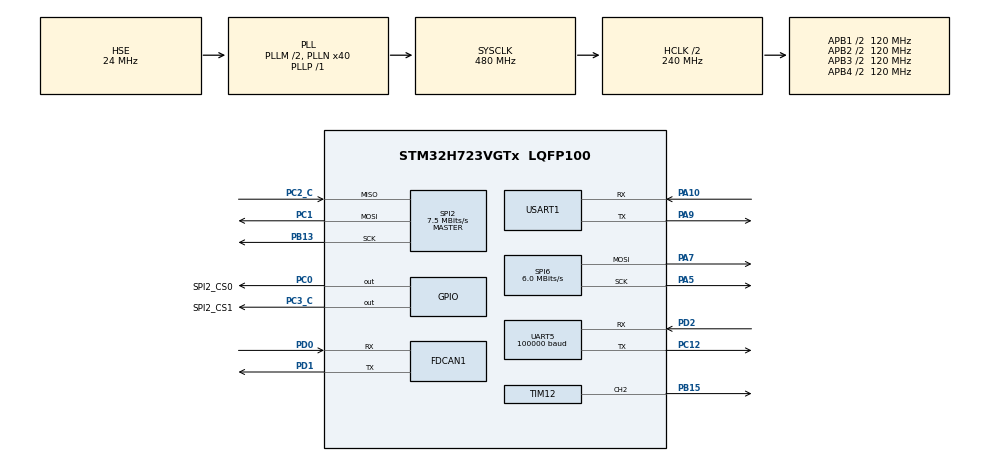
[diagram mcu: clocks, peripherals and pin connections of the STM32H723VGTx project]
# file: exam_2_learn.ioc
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Bdma.Request0=SPI6_TX
Bdma.RequestsNb=1
Bdma.SPI6_TX.0.Direction=DMA_MEMORY_TO_PERIPH
Bdma.SPI6_TX.0.EventEnable=DISABLE
Bdma.SPI6_TX.0.Instance=BDMA_Channel0
Bdma.SPI6_TX.0.MemDataAlignment=DMA_MDATAALIGN_BYTE
Bdma.SPI6_TX.0.MemInc=DMA_MINC_ENABLE
Bdma.SPI6_TX.0.Mode=DMA_NORMAL
Bdma.SPI6_TX.0.PeriphDataAlignment=DMA_PDATAALIGN_BYTE
Bdma.SPI6_TX.0.PeriphInc=DMA_PINC_DISABLE
Bdma.SPI6_TX.0.Polarity=HAL_DMAMUX_REQ_GEN_RISING
Bdma.SPI6_TX.0.Priority=DMA_PRIORITY_LOW
Bdma.SPI6_TX.0.RequestNumber=1
Bdma.SPI6_TX.0.SignalID=NONE
Bdma.SPI6_TX.0.SyncEnable=DISABLE
Bdma.SPI6_TX.0.SyncPolarity=HAL_DMAMUX_SYNC_NO_EVENT
Bdma.SPI6_TX.0.SyncRequestNumber=1
Bdma.SPI6_TX.0.SyncSignalID=NONE
CORTEX_M7.CPU_ICache=Enabled
CORTEX_M7.default_mode_Activation=1
Dma.Request0=USART1_RX
Dma.Request1=USART1_TX
Dma.Request2=UART5_RX
Dma.UART5_RX.2.Direction=DMA_PERIPH_TO_MEMORY
Dma.UART5_RX.2.EventEnable=DISABLE
Dma.UART5_RX.2.FIFOMode=DMA_FIFOMODE_DISABLE
Dma.UART5_RX.2.Instance=DMA1_Stream2
Dma.UART5_RX.2.MemDataAlignment=DMA_MDATAALIGN_BYTE
Dma.UART5_RX.2.MemInc=DMA_MINC_ENABLE
Dma.UART5_RX.2.Mode=DMA_NORMAL
Dma.UART5_RX.2.PeriphDataAlignment=DMA_PDATAALIGN_BYTE
Dma.UART5_RX.2.PeriphInc=DMA_PINC_DISABLE
Dma.UART5_RX.2.Polarity=HAL_DMAMUX_REQ_GEN_RISING
Dma.UART5_RX.2.Priority=DMA_PRIORITY_LOW
Dma.UART5_RX.2.RequestNumber=1
Dma.UART5_RX.2.SignalID=NONE
Dma.UART5_RX.2.SyncEnable=DISABLE
Dma.UART5_RX.2.SyncPolarity=HAL_DMAMUX_SYNC_NO_EVENT
Dma.UART5_RX.2.SyncRequestNumber=1
Dma.UART5_RX.2.SyncSignalID=NONE
Dma.USART1_RX.0.Direction=DMA_PERIPH_TO_MEMORY
Dma.USART1_RX.0.EventEnable=DISABLE
Dma.USART1_RX.0.FIFOMode=DMA_FIFOMODE_DISABLE
Dma.USART1_RX.0.Instance=DMA1_Stream0
Dma.USART1_RX.0.MemDataAlignment=DMA_MDATAALIGN_BYTE
Dma.USART1_RX.0.MemInc=DMA_MINC_ENABLE
Dma.USART1_RX.0.Mode=DMA_NORMAL
Dma.USART1_RX.0.PeriphDataAlignment=DMA_PDATAALIGN_BYTE
Dma.USART1_RX.0.PeriphInc=DMA_PINC_DISABLE
Dma.USART1_RX.0.Polarity=HAL_DMAMUX_REQ_GEN_RISING
Dma.USART1_RX.0.Priority=DMA_PRIORITY_LOW
Dma.USART1_RX.0.RequestNumber=1
Dma.USART1_RX.0.SignalID=NONE
Dma.USART1_RX.0.SyncEnable=DISABLE
Dma.USART1_RX.0.SyncPolarity=HAL_DMAMUX_SYNC_NO_EVENT
Dma.USART1_RX.0.SyncRequestNumber=1
Dma.USART1_RX.0.SyncSignalID=NONE
Dma.USART1_TX.1.Direction=DMA_MEMORY_TO_PERIPH
Dma.USART1_TX.1.EventEnable=DISABLE
Dma.USART1_TX.1.FIFOMode=DMA_FIFOMODE_DISABLE
Dma.USART1_TX.1.Instance=DMA1_Stream1
Dma.USART1_TX.1.MemDataAlignment=DMA_MDATAALIGN_BYTE
Dma.USART1_TX.1.MemInc=DMA_MINC_ENABLE
Dma.USART1_TX.1.Mode=DMA_NORMAL
Dma.USART1_TX.1.PeriphDataAlignment=DMA_PDATAALIGN_BYTE
Dma.USART1_TX.1.PeriphInc=DMA_PINC_DISABLE
Dma.USART1_TX.1.Polarity=HAL_DMAMUX_REQ_GEN_RISING
Dma.USART1_TX.1.Priority=DMA_PRIORITY_LOW
Dma.USART1_TX.1.RequestNumber=1
Dma.USART1_TX.1.SignalID=NONE
Dma.USART1_TX.1.SyncEnable=DISABLE
Dma.USART1_TX.1.SyncPolarity=HAL_DMAMUX_SYNC_NO_EVENT
Dma.USART1_TX.1.SyncRequestNumber=1
Dma.USART1_TX.1.SyncSignalID=NONE
FDCAN1.AutoRetransmission=ENABLE
FDCAN1.CalculateBaudRateNominal=1000000
FDCAN1.CalculateTimeBitNominal=1000
FDCAN1.CalculateTimeQuantumNominal=25.0
FDCAN1.NominalPrescaler=3
FDCAN1.NominalSyncJumpWidth=2
FDCAN1.NominalTimeSeg1=29
FDCAN1.NominalTimeSeg2=10
FDCAN1.RxFifo0ElmtsNbr=8
FDCAN1.StdFiltersNbr=1
FDCAN1.TxFifoQueueElmtsNbr=4
FDCAN1.TxFifoQueueMode=FDCAN_TX_QUEUE_OPERATION
FREERTOS.Tasks01=defaultTask,24,128,StartDefaultTask,Default,NULL,Dynamic,NULL,NULL;myTask02,24,256,StartTask02,Default,NULL,Dynamic,NULL,NULL
Mcu.Family=STM32H7
Mcu.Name=STM32H723VGTx
Mcu.Package=LQFP100
NVIC.BDMA_Channel0_IRQn=true\:5\:0\:false\:false\:true\:true\:false\:true\:true
NVIC.DMA1_Stream0_IRQn=true\:5\:0\:false\:false\:true\:true\:false\:true\:true
NVIC.DMA1_Stream1_IRQn=true\:5\:0\:false\:false\:true\:true\:false\:true\:true
NVIC.DMA1_Stream2_IRQn=true\:5\:0\:false\:false\:true\:true\:false\:true\:true
NVIC.FDCAN1_IT0_IRQn=true\:5\:0\:false\:false\:true\:true\:true\:true\:true
NVIC.FDCAN1_IT1_IRQn=true\:5\:0\:false\:false\:true\:true\:true\:true\:true
NVIC.PriorityGroup=NVIC_PRIORITYGROUP_4
NVIC.SPI2_IRQn=true\:5\:0\:false\:false\:true\:true\:true\:true\:true
NVIC.SPI6_IRQn=true\:5\:0\:false\:false\:true\:true\:false\:true\:true
NVIC.TIM6_DAC_IRQn=true\:15\:0\:false\:false\:true\:false\:false\:true\:true
NVIC.TimeBase=TIM6_DAC_IRQn
NVIC.TimeBaseIP=TIM6
NVIC.UART5_IRQn=true\:5\:0\:false\:false\:true\:true\:true\:true\:true
NVIC.USART1_IRQn=true\:5\:0\:false\:false\:true\:true\:true\:true\:true
PA10.Mode=Asynchronous
PA10.Signal=USART1_RX
PA13(JTMS/SWDIO).Mode=Serial_Wire
PA13(JTMS/SWDIO).Signal=DEBUG_JTMS-SWDIO
PA14(JTCK/SWCLK).Mode=Serial_Wire
PA14(JTCK/SWCLK).Signal=DEBUG_JTCK-SWCLK
PA5.Mode=TX_Only_Simplex_Unidirect_Master
PA5.Signal=SPI6_SCK
PA7.Mode=TX_Only_Simplex_Unidirect_Master
PA7.Signal=SPI6_MOSI
PA9.Mode=Asynchronous
PA9.Signal=USART1_TX
PB13.Mode=Full_Duplex_Master
PB13.Signal=SPI2_SCK
PB15.Signal=S_TIM12_CH2
PC0.GPIO_Label=SPI2_CS0
PC0.PinState=GPIO_PIN_SET
PC0.Signal=GPIO_Output
PC1.Mode=Full_Duplex_Master
PC1.Signal=SPI2_MOSI
PC12.Mode=Asynchronous
PC12.Signal=UART5_TX
PC2_C.Mode=Full_Duplex_Master
PC2_C.Signal=SPI2_MISO
PC3_C.GPIO_Label=SPI2_CS1
PC3_C.PinState=GPIO_PIN_SET
PC3_C.Signal=GPIO_Output
PD0.Mode=FDCAN_Activate
PD0.Signal=FDCAN1_RX
PD1.Mode=FDCAN_Activate
PD1.Signal=FDCAN1_TX
PD2.Mode=Asynchronous
PD2.Signal=UART5_RX
PH0-OSC_IN.Mode=HSE-External-Oscillator
PH0-OSC_IN.Signal=RCC_OSC_IN
PH1-OSC_OUT.Mode=HSE-External-Oscillator
PH1-OSC_OUT.Signal=RCC_OSC_OUT
ProjectManager.HeapSize=0x200
ProjectManager.StackSize=0x400
ProjectManager.TargetToolchain=CMake
RCC.ADCFreq_Value=48375000
RCC.APB1Freq_Value=120000000
RCC.APB2Freq_Value=120000000
RCC.APB3Freq_Value=120000000
RCC.APB4Freq_Value=120000000
RCC.CortexFreq_Value=480000000
RCC.D1PPRE=RCC_APB3_DIV2
RCC.D2PPRE1=RCC_APB1_DIV2
RCC.D2PPRE2=RCC_APB2_DIV2
RCC.D3PPRE=RCC_APB4_DIV2
RCC.DIVM1=2
RCC.DIVN1=40
RCC.DIVP1=1
RCC.DIVQ1=4
RCC.HCLKFreq_Value=240000000
RCC.HPRE=RCC_HCLK_DIV2
RCC.HSE_VALUE=24000000
RCC.PLL2FRACN=0
RCC.PLLFRACN=0
RCC.PLLSourceVirtual=RCC_PLLSOURCE_HSE
RCC.SPI6CLockSelection=RCC_SPI6CLKSOURCE_HSE
RCC.SYSCLKFreq_VALUE=480000000
RCC.SYSCLKSource=RCC_SYSCLKSOURCE_PLLCLK
RCC.USBFreq_Value=120000000
SH.S_TIM12_CH2.0=TIM12_CH2,PWM Generation2 CH2
SPI2.BaudRatePrescaler=SPI_BAUDRATEPRESCALER_16
SPI2.CLKPhase=SPI_PHASE_2EDGE
SPI2.CLKPolarity=SPI_POLARITY_HIGH
SPI2.CalculateBaudRate=7.5 MBits/s
SPI2.DataSize=SPI_DATASIZE_8BIT
SPI2.Direction=SPI_DIRECTION_2LINES
SPI2.Mode=SPI_MODE_MASTER
SPI2.VirtualType=VM_MASTER
SPI6.BaudRatePrescaler=SPI_BAUDRATEPRESCALER_4
SPI6.CLKPhase=SPI_PHASE_2EDGE
SPI6.CalculateBaudRate=6.0 MBits/s
SPI6.DataSize=SPI_DATASIZE_8BIT
SPI6.Direction=SPI_DIRECTION_2LINES_TXONLY
SPI6.Mode=SPI_MODE_MASTER
SPI6.VirtualType=VM_MASTER
TIM12.AutoReloadPreload=TIM_AUTORELOAD_PRELOAD_ENABLE
TIM12.Channel-PWM\ Generation2\ CH2=TIM_CHANNEL_2
TIM12.Period=999
TIM12.Prescaler=239
UART5.BaudRate=100000
UART5.Parity=PARITY_EVEN
UART5.WordLength=WORDLENGTH_9B
USART1.VirtualMode-Asynchronous=VM_ASYNC
VP_FREERTOS_VS_CMSIS_V2.Mode=CMSIS_V2
VP_MEMORYMAP_VS_MEMORYMAP.Mode=CurAppReg
VP_SYS_VS_tim6.Mode=TIM6
VP_TIM12_VS_ClockSourceINT.Mode=Internal
board=custom

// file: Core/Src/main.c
/* USER CODE BEGIN Header */
/**
  ******************************************************************************
  * @file           : main.c
  * @brief          : Main program body
  ******************************************************************************
  * @attention
  *
  * Copyright (c) 2026 STMicroelectronics.
  * All rights reserved.
  *
  * This software is licensed under terms that can be found in the LICENSE file
  * in the root directory of this software component.
  * If no LICENSE file comes with this software, it is provided AS-IS.
  *
  ******************************************************************************
  */
/* USER CODE END Header */
#include "main.h"
#include "FreeRTOS.h"
#include "cmsis_os2.h"
#include "bdma.h"
#include "dma.h"
#include "fdcan.h"
#include "spi.h"
#include "tim.h"
#include "usart.h"
#include "gpio.h"

/* USER CODE BEGIN Includes */
#include <stdio.h>
#include <string.h>
#include "led.h"
#include "buzzer.h"
#include "motor.h"
#include "freertos_uart.h"
#include "imu.h"
#include "remote.h"
#include "attitude.h"
#include "can.h"
#include "pid.h"
/* USER CODE END Includes */

void SystemClock_Config(void);
static void MPU_Config(void);
void MX_FREERTOS_Init(void);

/* USER CODE BEGIN 0 */
static void uart_rx_callback(uint8_t *data, uint16_t length)
{
    (void)data;//AI不知道什么时候偷偷写的，不知道什么作用
    (void)length;

    UART_data_process_over(UART_1);
}
/* USER CODE END 0 */

int main(void)
{

  /* MPU Configuration--------------------------------------------------------*/
  MPU_Config();

  /* Enable the CPU Cache */

  /* Enable I-Cache---------------------------------------------------------*/
  SCB_EnableICache();

  /* MCU Configuration--------------------------------------------------------*/

  /* Reset of all peripherals, Initializes the Flash interface and the Systick. */
  HAL_Init();

  /* Configure the system clock */
  SystemClock_Config();

  /* Initialize all configured peripherals */
  MX_GPIO_Init();
  MX_BDMA_Init();
  MX_DMA_Init();
  MX_SPI6_Init();
  MX_TIM12_Init();
  MX_USART1_UART_Init();
  MX_FDCAN1_Init();
  MX_SPI2_Init();
  MX_UART5_Init();
  /* USER CODE BEGIN 2 */
  LED_Init();
  Motor_Init(FDCAN_1, &hfdcan1, GM6020);
  UART_Init(UART_5, &huart5, Remote_rx);//遥控器
  UART_Init(UART_1, &huart1, uart_rx_callback);//vofa
  BMI088_init();
  /* USER CODE END 2 */

  /* Init scheduler */
  osKernelInitialize();  /* Call init function for freertos objects (in cmsis_os2.c) */
  MX_FREERTOS_Init();

  /* Start scheduler */
  osKernelStart();

  /* We should never get here as control is now taken by the scheduler */

  /* Infinite loop */
  while (1)
  {

  }
}

void SystemClock_Config(void)
{
  RCC_OscInitTypeDef RCC_OscInitStruct = {0};
  RCC_ClkInitTypeDef RCC_ClkInitStruct = {0};

  /** Supply configuration update enable
  */
  HAL_PWREx_ConfigSupply(PWR_LDO_SUPPLY);

  /** Configure the main internal regulator output voltage
  */
  __HAL_PWR_VOLTAGESCALING_CONFIG(PWR_REGULATOR_VOLTAGE_SCALE0);

  while(!__HAL_PWR_GET_FLAG(PWR_FLAG_VOSRDY)) {}

  /** Initializes the RCC Oscillators according to the specified parameters
  * in the RCC_OscInitTypeDef structure.
  */
  RCC_OscInitStruct.OscillatorType = RCC_OSCILLATORTYPE_HSE;
  RCC_OscInitStruct.HSEState = RCC_HSE_ON;
  RCC_OscInitStruct.PLL.PLLState = RCC_PLL_ON;
  RCC_OscInitStruct.PLL.PLLSource = RCC_PLLSOURCE_HSE;
  RCC_OscInitStruct.PLL.PLLM = 2;
  RCC_OscInitStruct.PLL.PLLN = 40;
  RCC_OscInitStruct.PLL.PLLP = 1;
  RCC_OscInitStruct.PLL.PLLQ = 4;
  RCC_OscInitStruct.PLL.PLLR = 2;
  RCC_OscInitStruct.PLL.PLLRGE = RCC_PLL1VCIRANGE_3;
  RCC_OscInitStruct.PLL.PLLVCOSEL = RCC_PLL1VCOWIDE;
  RCC_OscInitStruct.PLL.PLLFRACN = 0;
  if (HAL_RCC_OscConfig(&RCC_OscInitStruct) != HAL_OK)
  {
    Error_Handler();
  }

  /** Initializes the CPU, AHB and APB buses clocks
  */
  RCC_ClkInitStruct.ClockType = RCC_CLOCKTYPE_HCLK|RCC_CLOCKTYPE_SYSCLK
                              |RCC_CLOCKTYPE_PCLK1|RCC_CLOCKTYPE_PCLK2
                              |RCC_CLOCKTYPE_D3PCLK1|RCC_CLOCKTYPE_D1PCLK1;
  RCC_ClkInitStruct.SYSCLKSource = RCC_SYSCLKSOURCE_PLLCLK;
  RCC_ClkInitStruct.SYSCLKDivider = RCC_SYSCLK_DIV1;
  RCC_ClkInitStruct.AHBCLKDivider = RCC_HCLK_DIV2;
  RCC_ClkInitStruct.APB3CLKDivider = RCC_APB3_DIV2;
  RCC_ClkInitStruct.APB1CLKDivider = RCC_APB1_DIV2;
  RCC_ClkInitStruct.APB2CLKDivider = RCC_APB2_DIV2;
  RCC_ClkInitStruct.APB4CLKDivider = RCC_APB4_DIV2;

  if (HAL_RCC_ClockConfig(&RCC_ClkInitStruct, FLASH_LATENCY_3) != HAL_OK)
  {
    Error_Handler();
  }
}

 /* MPU Configuration */

void MPU_Config(void)
{
  MPU_Region_InitTypeDef MPU_InitStruct = {0};

  /* Disables the MPU */
  HAL_MPU_Disable();

  /** Initializes and configures the Region and the memory to be protected
  */
  MPU_InitStruct.Enable = MPU_REGION_ENABLE;
  MPU_InitStruct.Number = MPU_REGION_NUMBER0;
  MPU_InitStruct.BaseAddress = 0x0;
  MPU_InitStruct.Size = MPU_REGION_SIZE_4GB;
  MPU_InitStruct.SubRegionDisable = 0x87;
  MPU_InitStruct.TypeExtField = MPU_TEX_LEVEL0;
  MPU_InitStruct.AccessPermission = MPU_REGION_NO_ACCESS;
  MPU_InitStruct.DisableExec = MPU_INSTRUCTION_ACCESS_DISABLE;
  MPU_InitStruct.IsShareable = MPU_ACCESS_SHAREABLE;
  MPU_InitStruct.IsCacheable = MPU_ACCESS_NOT_CACHEABLE;
  MPU_InitStruct.IsBufferable = MPU_ACCESS_NOT_BUFFERABLE;

  HAL_MPU_ConfigRegion(&MPU_InitStruct);
  /* Enables the MPU */
  HAL_MPU_Enable(MPU_PRIVILEGED_DEFAULT);

}

void HAL_TIM_PeriodElapsedCallback(TIM_HandleTypeDef *htim)
{
  if (htim->Instance == TIM6)
  {
    HAL_IncTick();
  }
}

void Error_Handler(void)
{
  __disable_irq();
  while (1)
  {
  }
}

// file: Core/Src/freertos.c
/* USER CODE BEGIN Header */
/**
  ******************************************************************************
  * File Name          : freertos.c
  * Description        : Code for freertos applications
  ******************************************************************************
  * @attention
  *
  * Copyright (c) 2026 STMicroelectronics.
  * All rights reserved.
  *
  * This software is licensed under terms that can be found in the LICENSE file
  * in the root directory of this software component.
  * If no LICENSE file comes with this software, it is provided AS-IS.
  *
  ******************************************************************************
  */
/* USER CODE END Header */

#include "FreeRTOS.h"
#include "task.h"
#include "main.h"
#include "FreeRTOS.h"
#include "cmsis_os2.h"

/* USER CODE BEGIN Includes */
#include "attitude.h"
#include "motor.h"
#include "freertos_uart.h"
#include "imu.h"
#include "pid.h"
#include "remote.h"
/* USER CODE END Includes */

/* USER CODE BEGIN PD */
PID_member speed_pid;
remote_data_type remote_data_a;
GM6020_motor_status GM6020_motor_status_a;
int16_t goal = 0;
int16_t real = 0;
double output = 0;
int statu = 0;
int last_statu = 0;
/* USER CODE END PD */

/* Definitions for defaultTask */
osThreadId_t defaultTaskHandle;
const osThreadAttr_t defaultTask_attributes = {
  .name = "defaultTask",
  .stack_size = 128 * 4,
  .priority = (osPriority_t) osPriorityNormal,
};
/* Definitions for myTask02 */
osThreadId_t myTask02Handle;
const osThreadAttr_t myTask02_attributes = {
  .name = "myTask02",
  .stack_size = 256 * 4,
  .priority = (osPriority_t) osPriorityNormal,
};

void StartDefaultTask(void *argument);
void StartTask02(void *argument);

void MX_FREERTOS_Init(void); /* (MISRA C 2004 rule 8.1) */

void MX_FREERTOS_Init(void) {

  /* Create the thread(s) */
  /* creation of defaultTask */
  defaultTaskHandle = osThreadNew(StartDefaultTask, NULL, &defaultTask_attributes);

  /* creation of myTask02 */
  myTask02Handle = osThreadNew(StartTask02, NULL, &myTask02_attributes);

}

void StartDefaultTask(void *argument)
{
  /* USER CODE BEGIN StartDefaultTask */

  PID_Init(&speed_pid, 10, 0, 0, 0.001, 600, 10000);
  /* Infinite loop */
  for(;;)
  {
    GM6020_Get_Status(1, &GM6020_motor_status_a);
    Get_Remote_data(&remote_data_a);
    output = PID(&speed_pid, 3 * remote_data_a.ch0, GM6020_motor_status_a.speed_rpm);
    if (can[1].online == 1 && remote_data_a.online == 1 && GM6020_motor_status_a.online == 1)
    {
      if (remote_data_a.sw1 == 1 && remote_data_a.sw2 == 1)
      {
        motor_control(1 ,GM6020_I_control_1234, output, 0, 0, 0);
        statu = 1;
      }
      else
      {
        motor_control(1 ,GM6020_I_control_1234, 0, 0, 0, 0);
        statu = 0;
      }
    }
    else
    {
      motor_control(1 ,GM6020_I_control_1234, 0, 0, 0, 0);
      statu = -1;
    }

    if (last_statu != statu)
    {
      if (statu == 0)
      {
        LED(0,200,0);
      }
      if (statu == 1)
      {
        LED(0,0,200);
      }
      if (statu == -1)
      {
        LED(200,0,0);
      }
    }
      last_statu = statu;
      osDelay(1);
    }
    /* USER CODE END StartDefaultTask */
}

  void StartTask02(void *argument)
  {
    /* USER CODE BEGIN StartTask02 */
    // Attitude attitude;
    // Attitude_Init(&attitude);
    /* Infinite loop */
    for(;;)
    {
      // BMI088_Data_t data;
      // if (BMI088_update(&data))
      // {
      //   Attitude_Update(
      //       &attitude,
      //       data.gyro_dps,
      //       data.accel_g,
      //       0.01f
      //   );
      // }
      goal = 3 * remote_data_a.ch0;
      real = GM6020_motor_status_a.speed_rpm;
      UART_printf_Transmit(1, "%d, %f, %d, %d, %d, %d\n", goal, output, real, can[1].online, remote_data_a.online, GM6020_motor_status_a.online/*attitude.roll, attitude.pitch, attitude.yaw*/);
      osDelay(20);
    }
    /* USER CODE END StartTask02 */
  }
  /* Private application code --------------------------------------------------*/
